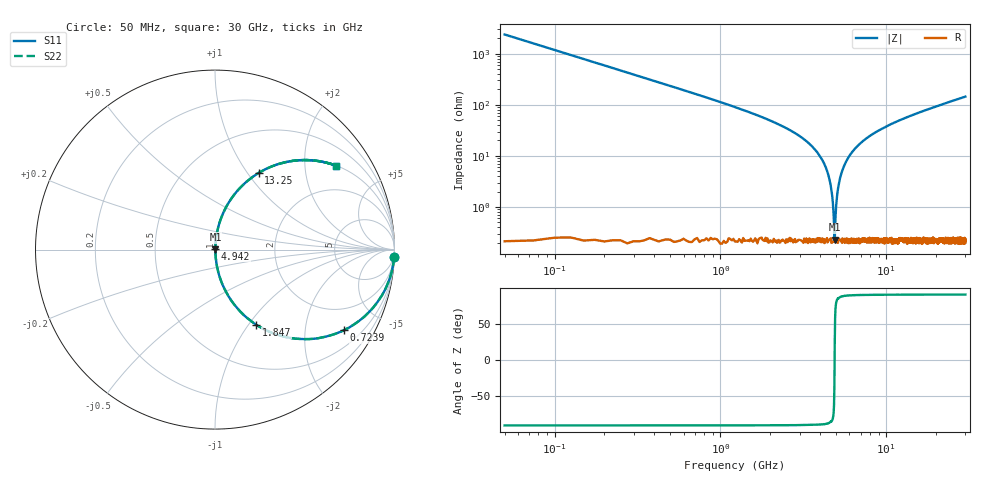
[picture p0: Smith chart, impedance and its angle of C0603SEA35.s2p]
!	AVX Thin Film Operation 	Date: April 2014
!	Description: Accu-P® Series, Thin Film  SMD RF Capacitor
!	Part Number: 06031JA35PBSTR
# MHZ S MA R 50
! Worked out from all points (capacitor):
!   1201 points, 50 MHz to 30 GHz, reference 50 ohm
!   read as one part in series: C = 1.35 pF near 199.8 MHz
!   lowest |Z| = 229 mohm at 4.892 GHz (marker M1)
!   series resonance near 4.883 GHz, so ESL is about 790 pH
!   S11 on the Smith chart (normalised r, x): 50 MHz: 1, -47; 723.9 MHz: 1.01, -3.18; 1.847 GHz: 1.00, -1.09; 4.942 GHz: 1.00, +0.01; 13.25 GHz: 1.00, +1.13; 30 GHz: 1.00, +2.89
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50  0.999 -2.4  0.042 87.6  0.042 87.6  0.999 -2.4
324.542  0.964 -15.5  0.266 74.5  0.266 74.5  0.964 -15.5
723.875  0.846 -32.1  0.531 57.8  0.531 57.8  0.846 -32.1
1847  0.479 -61.1  0.876 28.6  0.876 28.6  0.479 -61.1
3269.625  0.195 -78.1  0.979 11.2  0.979 11.2  0.195 -78.1
4093.25  0.085 -83.6  0.994 4.9  0.994 4.9  0.085 -83.6
4517.542  0.038 -84.5  0.997 2.1  0.997 2.1  0.038 -84.5
4642.333  0.024 -83.4  0.997 1.4  0.997 1.4  0.024 -83.4
4792.083  0.009298 -75.8  0.998 0.5  0.998 0.5  0.009298 -75.8
4891.917  0.002383 22.2  0.998 -0.1  0.998 -0.1  0.002383 22.2
4941.833  0.006199 68.8  0.998 -0.3  0.998 -0.3  0.006199 68.8
5041.667  0.016 81.0  0.998 -0.9  0.998 -0.9  0.016 81.0
5191.417  0.03 84.0  0.997 -1.7  0.997 -1.7  0.03 84.0
5416.042  0.05 84.6  0.997 -2.9  0.997 -2.9  0.05 84.6
6214.708  0.117 82.2  0.991 -6.7  0.991 -6.7  0.117 82.2
7712.208  0.222 76.6  0.973 -12.8  0.973 -12.8  0.222 76.6
10058.29  0.355 68.9  0.933 -20.8  0.933 -20.8  0.355 68.9
13252.96  0.492 60.3  0.869 -29.5  0.869 -29.5  0.492 60.3
15025  0.553 56.3  0.832 -33.5  0.832 -33.5  0.553 56.3
20016.67  0.681 47.0  0.731 -42.9  0.731 -42.9  0.681 47.0
25033.29  0.765 40.0  0.643 -49.9  0.643 -49.9  0.765 40.0
30000  0.822 34.7  0.569 -55.2  0.569 -55.2  0.822 34.7
